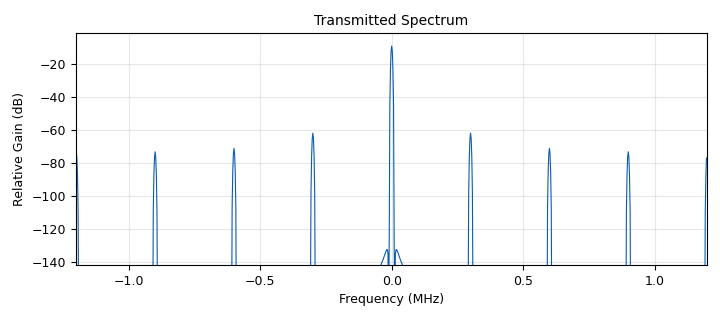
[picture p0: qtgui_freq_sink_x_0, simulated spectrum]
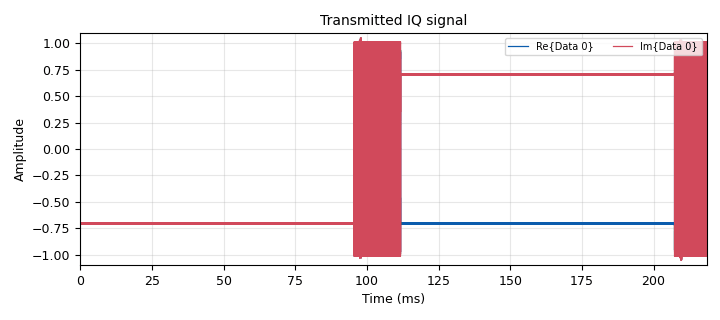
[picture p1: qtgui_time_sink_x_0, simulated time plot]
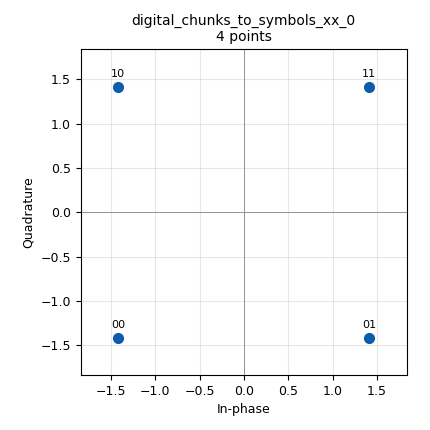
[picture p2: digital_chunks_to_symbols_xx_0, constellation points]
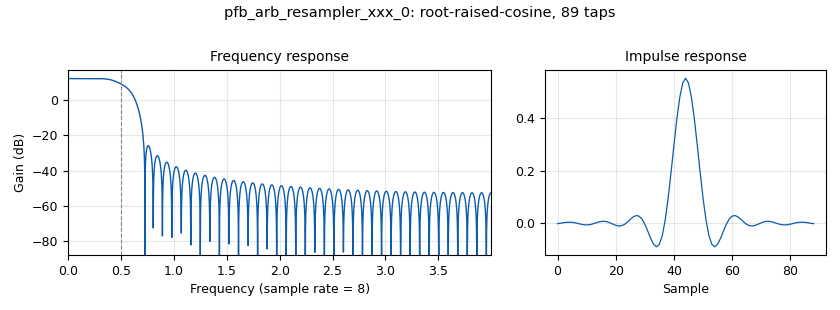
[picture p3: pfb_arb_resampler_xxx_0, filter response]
options:
  parameters:
    generate_options: qt_gui
    id: qpsk_tr
    output_language: python
    title: QPSK Transmission
  states: {}

blocks:
- name: Ex_BW
  id: variable_qtgui_range
  parameters:
    min_len: '100'
    start: '0.2'
    step: '0.05'
    stop: '0.6'
    value: '0.4'
  states: {}
- name: deltaf
  id: variable_qtgui_range
  parameters:
    min_len: '100'
    start: '-75000'
    step: '50'
    stop: '75000'
    value: '0'
  states: {}
- name: freq
  id: variable
  parameters:
    value: 850e6
  states: {}
- name: gain
  id: variable_qtgui_range
  parameters:
    min_len: '100'
    start: '0'
    step: '3'
    stop: '89'
    value: '17'
  states: {}
- name: nfilts
  id: variable
  parameters:
    value: '8'
  states: {}
- name: rrc_taps_tr
  id: variable
  parameters:
    value: firdes.root_raised_cosine(nfilts/2.0, nfilts, 1.0,  Ex_BW, 11*nfilts)
  states: {}
- name: samp_rate
  id: variable
  parameters:
    value: sps*symb_rate
  states: {}
- name: sps
  id: variable
  parameters:
    value: '8'
  states: {}
- name: symb_rate
  id: variable
  parameters:
    value: 300e3
  states: {}
- name: blocks_file_source_0
  id: blocks_file_source
  parameters:
    file: qpsk_msg
    repeat: 'True'
    type: byte
  states: {state: disabled}
- name: blocks_message_strobe_0
  id: blocks_message_strobe
  parameters:
    msg: pmt.cons(pmt.PMT_NIL, pmt.pmt_to_python.numpy_to_uvector(numpy.array([ord(c) for c in "This is the GNU Radio QPSK modem working with tags!"], numpy.uint8)))
    period: '100'
  states: {}
- name: blocks_packed_to_unpacked_xx_0
  id: blocks_packed_to_unpacked_xx
  parameters:
    bits_per_chunk: digital.constellation_qpsk().bits_per_symbol()
    endianness: gr.GR_MSB_FIRST
    type: byte
  states: {}
- name: digital_chunks_to_symbols_xx_0
  id: digital_chunks_to_symbols_xx
  parameters:
    dimension: '1'
    in_type: byte
    out_type: complex
    symbol_table: digital.constellation_qpsk().points()
  states: {}
- name: digital_diff_encoder_bb_0
  id: digital_diff_encoder_bb
  parameters:
    coding: digital.DIFF_DIFFERENTIAL
    modulus: '4'
  states: {}
- name: digital_map_bb_0
  id: digital_map_bb
  parameters:
    map: digital.constellation_qpsk().pre_diff_code()
  states: {}
- name: epy_block_0
  id: epy_block
  parameters:
    _source_code: |
      """
      Embedded Python Block
      """

      import numpy as np
      from gnuradio import gr
      import pmt

      class blk(gr.sync_block):
          """Packet Format"""

          def __init__(self):
              gr.sync_block.__init__(self,
                  name = "Packet Format",
                  in_sig = None,
                  out_sig = None)
              self.message_port_register_in(pmt.intern('PDU_in'))
              self.message_port_register_out(pmt.intern('PDU_out'))
              self.set_msg_handler(pmt.intern('PDU_in'), self.handle_msg)

          def handle_msg(self, msg):
              #Generate header
              hdr1 = np.tile([85, 170, 85, 170, 85, 170, 85, 170],16)
              hdr1 = hdr1.tolist()
              #Generater footer
              ftr1 = np.tile([85, 170, 85, 170, 85, 170, 85, 170],128)
              ftr1 = ftr1.tolist()
              ftr2 = np.tile([0, 0, 0, 0, 0, 0, 0, 0], 896)
              ftr2 = ftr2.tolist()
              #Incoming message
              inMsg = pmt.to_python (msg)
              pld = inMsg[1]
              mLen = len(pld)
              if (mLen > 0):
                  char_list = hdr1
                  #Add access code
                  char_list.append(225)
                  char_list.append(90)
                  char_list.append(232)
                  char_list.append(147)
                  #Add payload length twice (as required by the 'Correlate Access Code - Stream Tag' block
                  char_list.append (mLen >> 8)
                  char_list.append (mLen & 255)
                  char_list.append (mLen >> 8)
                  char_list.append (mLen & 255)
                  char_list.extend (pld)
                  char_list.extend (ftr1)
                  char_list.extend (ftr2)
                  out_len = len(char_list)
                  
                  self.message_port_pub(pmt.intern('PDU_out'), pmt.cons(pmt.PMT_NIL,pmt.init_u8vector(out_len,(char_list))))
  states: {}
- name: iio_pluto_sink_0
  id: iio_pluto_sink
  parameters:
    attenuation1: gain
    bandwidth: '1000000'
    buffer_size: '32768'
    cyclic: 'False'
    filter_source: '''Auto'''
    frequency: int(freq)+deltaf
    samplerate: int(samp_rate)
    type: fc32
    uri: ip:192.168.2.1
  states: {}
- name: import_1
  id: import
  parameters:
    imports: import numpy
  states: {}
- name: pdu_pdu_to_tagged_stream_0
  id: pdu_pdu_to_tagged_stream
  parameters:
    tag: packet_len
    type: byte
  states: {}
- name: pfb_arb_resampler_xxx_0
  id: pfb_arb_resampler_xxx
  parameters:
    atten: '100'
    nfilts: nfilts
    rrate: sps
    taps: rrc_taps_tr
    type: ccf
  states: {}
- name: qtgui_freq_sink_x_0
  id: qtgui_freq_sink_x
  parameters:
    autoscale: 'True'
    bw: samp_rate
    fc: '0'
    fftsize: '1024'
    grid: 'True'
    gui_hint: 0,0,1,1
    name: '"Transmitted Spectrum"'
    type: complex
    ymax: '-20'
    ymin: '-120'
  states: {}
- name: qtgui_time_sink_x_0
  id: qtgui_time_sink_x
  parameters:
    grid: 'True'
    gui_hint: 0,1,1,1
    name: '"Transmitted IQ signal"'
    size: 65536*8
    srate: samp_rate
    tr_mode: qtgui.TRIG_MODE_AUTO
    type: complex
    update_time: '0.0001'
    ymax: '1.1'
    ymin: '-1.1'
  states: {}
- name: virtual_sink_0
  id: virtual_sink
  parameters:
    stream_id: from_mod
  states: {}
- name: virtual_source_0
  id: virtual_source
  parameters:
    stream_id: from_mod
  states: {}

connections:
- [blocks_file_source_0, '0', blocks_packed_to_unpacked_xx_0, '0']
- [blocks_message_strobe_0, strobe, epy_block_0, PDU_in]
- [blocks_packed_to_unpacked_xx_0, '0', digital_map_bb_0, '0']
- [digital_chunks_to_symbols_xx_0, '0', virtual_sink_0, '0']
- [digital_diff_encoder_bb_0, '0', digital_chunks_to_symbols_xx_0, '0']
- [digital_map_bb_0, '0', digital_diff_encoder_bb_0, '0']
- [epy_block_0, PDU_out, pdu_pdu_to_tagged_stream_0, pdus]
- [pdu_pdu_to_tagged_stream_0, '0', blocks_packed_to_unpacked_xx_0, '0']
- [pfb_arb_resampler_xxx_0, '0', iio_pluto_sink_0, '0']
- [pfb_arb_resampler_xxx_0, '0', qtgui_freq_sink_x_0, '0']
- [pfb_arb_resampler_xxx_0, '0', qtgui_time_sink_x_0, '0']
- [virtual_source_0, '0', pfb_arb_resampler_xxx_0, '0']

metadata:
  file_format: 1
  grc_version: 3.10.9.2
